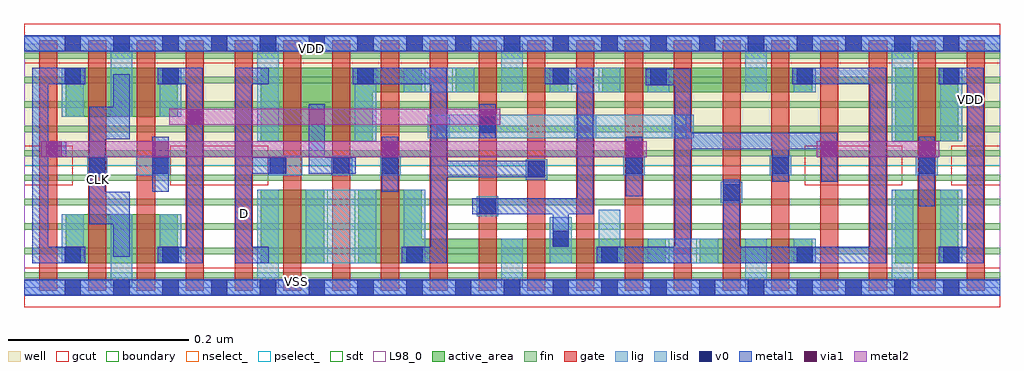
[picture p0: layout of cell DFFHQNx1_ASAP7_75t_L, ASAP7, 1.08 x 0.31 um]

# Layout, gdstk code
import gdstk
lib = gdstk.Library(unit=1e-6, precision=2.5e-10)
def R(c, l, rs):  # rectangles x0, y0, x1, y1
    for r in rs: c.add(gdstk.rectangle(r[:2], r[2:], *l))
def A(c, l, x, y, w, h, nx, ny, dx, dy):  # array of equal rectangles
    R(c, l, [(x+i*dx, y+j*dy, x+i*dx+w, y+j*dy+h) for i in range(nx) for j in range(ny)])
def P(c, l, *ps):  # polygons
    for p in ps: c.add(gdstk.Polygon(p, *l))
well = (1, 0)
fin = (2, 0)
gate = (7, 0)
gcut = (10, 0)
active_area = (11, 0)
nselect_ = (12, 0)
pselect_ = (13, 0)
lig = (16, 0)
lisd = (17, 0)
v0 = (18, 0)
metal1 = (19, 0)
metal2 = (20, 0)
via1 = (21, 0)
sdt = (88, 0)
L98_0 = (98, 0)
boundary = (100, 0)

dffhqnx1_asap7_75t_l = lib.new_cell('DFFHQNx1_ASAP7_75t_L')
R(dffhqnx1_asap7_75t_l, well, [(0,0.135,1.08,0.27)])
A(dffhqnx1_asap7_75t_l, fin, 0, 0.01, 1.08, 0.007, 1, 10, 0, 0.027)
A(dffhqnx1_asap7_75t_l, gate, 0.017, -0.0035, 0.02, 0.277, 20, 1, 0.054, 0)
R(dffhqnx1_asap7_75t_l, gcut, [(0,-0.022,1.08,0.022), (0,0.113,0.054,0.157), (0.162,0.113,0.27,0.157), (0.864,0.113,0.972,0.157), (1.026,0.113,1.08,0.157), (0,0.248,1.08,0.292)])
R(dffhqnx1_asap7_75t_l, active_area, [(0.046,0.027,0.17,0.081), (0.262,0.027,0.332,0.108), (0.748,0.027,0.872,0.054), (0.964,0.027,1.034,0.108), (0.964,0.162,1.034,0.243), (0.046,0.189,0.17,0.243), (0.478,0.216,0.602,0.243), (0.64,0.216,0.872,0.243)])
P(dffhqnx1_asap7_75t_l, active_area, [(0.262,0.162),(0.262,0.243),(0.44,0.243),(0.44,0.216),(0.386,0.216),(0.386,0.162)],
  [(0.37,0.027),(0.37,0.108),(0.44,0.108),(0.44,0.054),(0.71,0.054),(0.71,0.027)])
R(dffhqnx1_asap7_75t_l, nselect_, [(0,0,1.08,0.135)])
R(dffhqnx1_asap7_75t_l, pselect_, [(0,0.135,1.08,0.27)])
A(dffhqnx1_asap7_75t_l, lig, 0.663, 0.124, 0.024, 0.022, 3, 1, 0.162, 0)
R(dffhqnx1_asap7_75t_l, lig, [(0,-0.008,1.08,0.008), (0.501,0.079,0.525,0.101), (0.771,0.094,0.795,0.117), (0.555,0.119,0.579,0.142), (0.07,0.124,0.092,0.146), (0.124,0.124,0.162,0.146), (0.27,0.124,0.308,0.146), (0.34,0.124,0.363,0.146), (0.394,0.124,0.417,0.146), (0.447,0.165,0.471,0.191), (0.609,0.165,0.633,0.191), (0.717,0.165,0.741,0.191), (0,0.262,1.08,0.278)])
R(dffhqnx1_asap7_75t_l, lisd, [(0.096,0,0.12,0.081), (0.258,0,0.282,0.108), (0.528,0,0.552,0.054), (0.798,0,0.822,0.054), (0.96,0,0.984,0.108), (0.042,0.027,0.066,0.081), (0.15,0.027,0.174,0.081), (0.312,0.027,0.39,0.108), (0.42,0.027,0.444,0.108), (0.582,0.027,0.606,0.078), (0.636,0.027,0.66,0.086), (0.69,0.027,0.768,0.054), (0.852,0.027,0.876,0.054), (1.014,0.027,1.038,0.108), (0.258,0.162,0.282,0.27), (0.366,0.162,0.39,0.243), (0.96,0.162,0.984,0.27), (1.014,0.162,1.038,0.243), (0.457,0.165,0.733,0.191), (0.042,0.189,0.066,0.243), (0.096,0.189,0.12,0.27), (0.15,0.189,0.174,0.243), (0.42,0.216,0.498,0.243), (0.528,0.216,0.552,0.27), (0.582,0.216,0.66,0.243), (0.69,0.216,0.714,0.243), (0.798,0.216,0.822,0.27), (0.852,0.216,0.876,0.243)])
A(dffhqnx1_asap7_75t_l, v0, 0.045, -0.009, 0.018, 0.018, 19, 2, 0.054, 0.27)
A(dffhqnx1_asap7_75t_l, v0, 0.423, 0.027, 0.018, 0.018, 3, 1, 0.216, 0)
A(dffhqnx1_asap7_75t_l, v0, 0.666, 0.126, 0.018, 0.018, 3, 1, 0.162, 0)
A(dffhqnx1_asap7_75t_l, v0, 0.153, 0.225, 0.018, 0.018, 3, 1, 0.216, 0)
R(dffhqnx1_asap7_75t_l, v0, [(0.045,0.027,0.063,0.045), (0.153,0.027,0.171,0.045), (1.017,0.027,1.035,0.045), (0.585,0.045,0.603,0.063), (0.504,0.081,0.522,0.099), (0.774,0.096,0.792,0.114), (0.558,0.122,0.576,0.14), (0.072,0.126,0.09,0.144), (0.142,0.126,0.16,0.144), (0.272,0.126,0.29,0.144), (0.342,0.126,0.36,0.144), (0.396,0.126,0.414,0.144), (0.504,0.171,0.522,0.189), (0.693,0.224,0.711,0.242), (0.045,0.225,0.063,0.243), (0.855,0.225,0.873,0.243), (1.017,0.225,1.035,0.243)])
R(dffhqnx1_asap7_75t_l, metal1, [(0,-0.009,1.08,0.009), (0.99,0.09,1.008,0.167), (0.666,0.101,0.684,0.167), (0.142,0.106,0.16,0.167), (0.396,0.106,0.414,0.167), (0.504,0.165,0.522,0.203), (0,0.261,1.08,0.279)])
P(dffhqnx1_asap7_75t_l, metal1, [(0.009,0.027),(0.009,0.243),(0.068,0.243),(0.068,0.225),(0.027,0.225),(0.027,0.162),(0.047,0.162),(0.047,0.144),(0.027,0.144),(0.027,0.045),(0.068,0.045),(0.068,0.027)],
  [(0.099,0.034),(0.099,0.07),(0.072,0.07),(0.072,0.2),(0.099,0.2),(0.099,0.236),(0.117,0.236),(0.117,0.164),(0.09,0.164),(0.09,0.106),(0.117,0.106),(0.117,0.034)],
  [(0.148,0.027),(0.148,0.045),(0.18,0.045),(0.18,0.225),(0.148,0.225),(0.148,0.243),(0.198,0.243),(0.198,0.027)],
  [(0.234,0.027),(0.234,0.243),(0.271,0.243),(0.271,0.225),(0.252,0.225),(0.252,0.144),(0.29,0.144),(0.29,0.126),(0.252,0.126),(0.252,0.045),(0.271,0.045),(0.271,0.027)],
  [(0.315,0.126),(0.315,0.203),(0.333,0.203),(0.333,0.144),(0.367,0.144),(0.367,0.126)],
  [(0.418,0.027),(0.418,0.045),(0.45,0.045),(0.45,0.225),(0.364,0.225),(0.364,0.243),(0.468,0.243),(0.468,0.14),(0.576,0.14),(0.576,0.122),(0.468,0.122),(0.468,0.027)],
  [(0.585,0.045),(0.585,0.081),(0.496,0.081),(0.496,0.099),(0.612,0.099),(0.612,0.225),(0.576,0.225),(0.576,0.243),(0.63,0.243),(0.63,0.081),(0.603,0.081),(0.603,0.045)],
  [(0.634,0.027),(0.634,0.045),(0.72,0.045),(0.72,0.224),(0.688,0.224),(0.688,0.242),(0.738,0.242),(0.738,0.171),(0.9,0.171),(0.9,0.117),(0.882,0.117),(0.882,0.153),(0.846,0.153),(0.846,0.117),(0.828,0.117),(0.828,0.153),(0.738,0.153),(0.738,0.027)],
  [(0.774,0.027),(0.774,0.119),(0.792,0.119),(0.792,0.045),(0.936,0.045),(0.936,0.225),(0.85,0.225),(0.85,0.243),(0.954,0.243),(0.954,0.027)],
  [(1.012,0.027),(1.012,0.045),(1.044,0.045),(1.044,0.225),(1.012,0.225),(1.012,0.243),(1.062,0.243),(1.062,0.027)])
R(dffhqnx1_asap7_75t_l, metal2, [(0.019,0.144,0.689,0.162), (0.877,0.144,1.013,0.162), (0.161,0.18,0.527,0.198)])
R(dffhqnx1_asap7_75t_l, via1, [(0.024,0.144,0.042,0.162), (0.142,0.144,0.16,0.162), (0.396,0.144,0.414,0.162), (0.666,0.144,0.684,0.162), (0.882,0.144,0.9,0.162), (0.99,0.144,1.008,0.162), (0.18,0.18,0.198,0.198), (0.315,0.18,0.333,0.198), (0.504,0.18,0.522,0.198)])
A(dffhqnx1_asap7_75t_l, sdt, 0.042, 0.027, 0.024, 0.054, 3, 2, 0.054, 0.162)
A(dffhqnx1_asap7_75t_l, sdt, 0.258, 0.027, 0.024, 0.081, 4, 1, 0.054, 0)
A(dffhqnx1_asap7_75t_l, sdt, 0.528, 0.027, 0.024, 0.027, 7, 1, 0.054, 0)
A(dffhqnx1_asap7_75t_l, sdt, 0.42, 0.216, 0.024, 0.027, 6, 1, 0.054, 0)
R(dffhqnx1_asap7_75t_l, sdt, [(0.96,0.027,0.984,0.108), (1.014,0.027,1.038,0.108), (0.258,0.162,0.282,0.243), (0.366,0.162,0.39,0.243), (0.96,0.162,0.984,0.243), (1.014,0.162,1.038,0.243), (0.798,0.216,0.822,0.243), (0.852,0.216,0.876,0.243)])
R(dffhqnx1_asap7_75t_l, L98_0, [(0,0,1.08,0.27)])
R(dffhqnx1_asap7_75t_l, boundary, [(0,0,1.08,0.27)])
dffhqnx1_asap7_75t_l.add(gdstk.Label('VDD', (1.047,0.208), layer=1, texttype=251))
dffhqnx1_asap7_75t_l.add(gdstk.Label('CLK', (0.082,0.119), layer=19, texttype=251))
dffhqnx1_asap7_75t_l.add(gdstk.Label('D', (0.244,0.082), layer=19, texttype=251))
dffhqnx1_asap7_75t_l.add(gdstk.Label('QN', (1.056,0.223), layer=19, texttype=251))
dffhqnx1_asap7_75t_l.add(gdstk.Label('VDD', (0.318,0.264), layer=19, texttype=251))
dffhqnx1_asap7_75t_l.add(gdstk.Label('VSS', (0.302,0.007), layer=19, texttype=251))
dffhqnx1_asap7_75t_l.add(gdstk.Label('VSS', (1.116,0.207), layer=3, texttype=251))

lib.write_gds('DFFHQNx1_ASAP7_75t_L.gds')
